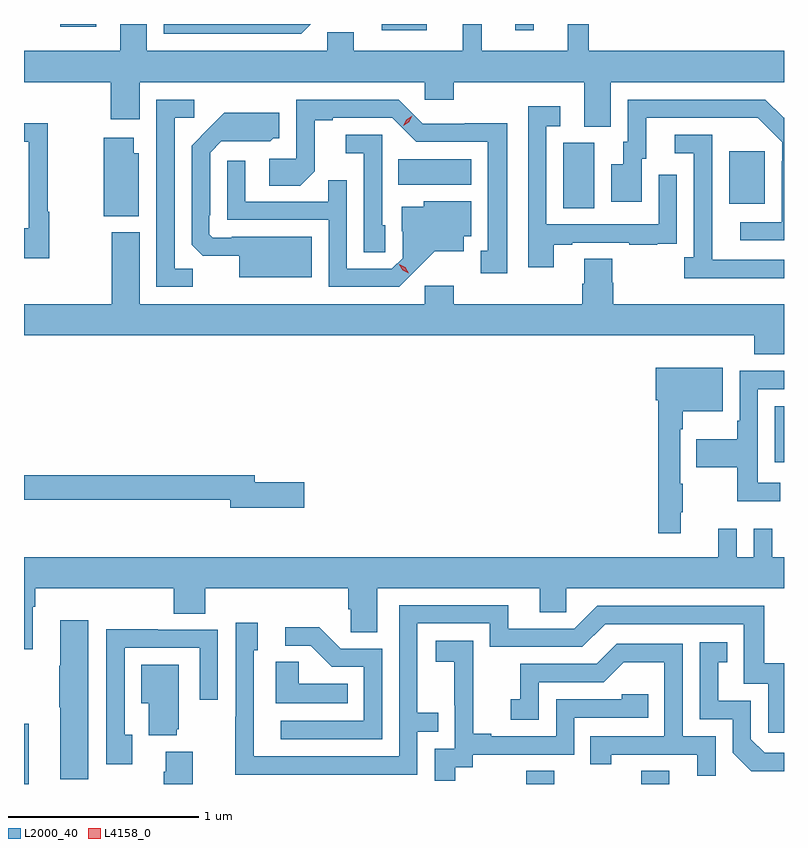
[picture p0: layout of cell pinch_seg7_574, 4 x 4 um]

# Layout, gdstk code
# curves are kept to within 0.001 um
import gdstk
lib = gdstk.Library(unit=1e-6, precision=1e-09)
def R(c, l, rs):  # rectangles x0, y0, x1, y1
    for r in rs: c.add(gdstk.rectangle(r[:2], r[2:], *l))
def P(c, l, *ps):  # polygons
    for p in ps: c.add(gdstk.Polygon(p, *l))
L2000_40 = (2000, 40)
L4158_0 = (4158, 0)

pinch_seg7_574 = lib.new_cell('pinch_seg7_574')
R(pinch_seg7_574, L2000_40, [(180.464,1052.866,180.49,1053.184), (183.107,1052.866,183.255,1052.936), (183.712,1052.866,183.859,1052.936), (184.415,1054.559,184.464,1054.855), (183.302,1055.896,183.466,1056.24), (184.175,1055.921,184.363,1056.196), (182.434,1056.02,182.818,1056.154), (182.346,1056.834,182.585,1056.866), (183.05,1056.834,183.147,1056.866), (180.655,1056.852,180.844,1056.866)])
P(pinch_seg7_574, L2000_40, [(181.974,1056.866),(181.2,1056.866),(181.2,1056.816),(181.924,1056.816)],
  [(183.553,1056.56),(184.464,1056.56),(184.464,1056.724),(183.436,1056.724),(183.436,1056.866),(183.326,1056.866),(183.326,1056.724),(182.873,1056.724),(182.873,1056.866),(182.774,1056.866),(182.774,1056.724),(182.2,1056.724),(182.2,1056.822),(182.061,1056.822),(182.061,1056.724),(181.111,1056.724),(181.111,1056.866),(180.971,1056.866),(180.971,1056.724),(180.464,1056.724),(180.464,1056.56),(180.92,1056.56),(180.92,1056.366),(181.072,1056.366),(181.072,1056.56),(182.574,1056.56),(182.574,1056.467),(182.726,1056.467),(182.726,1056.56),(183.413,1056.56),(183.413,1056.325),(183.553,1056.325)],
  [(181.353,1055.579),(181.257,1055.579),(181.257,1056.372),(181.36,1056.372),(181.36,1056.468),(181.161,1056.468),(181.161,1055.484),(181.353,1055.484)],
  [(183.007,1056.344),(182.784,1056.344),(182.784,1056.342),(182.562,1056.342),(182.436,1056.468),(181.896,1056.468),(181.896,1056.156),(181.755,1056.156),(181.755,1056.016),(181.919,1056.016),(181.995,1056.092),(181.995,1056.36),(182.089,1056.36),(182.089,1056.372),(182.403,1056.372),(182.529,1056.246),(182.906,1056.246),(182.906,1055.673),(182.867,1055.673),(182.867,1055.553),(183.007,1055.553)],
  [(184.464,1056.372),(184.458,1056.378),(184.457,1056.377),(184.366,1056.468),(183.642,1056.468),(183.642,1056.246),(183.617,1056.246),(183.617,1056.127),(183.554,1056.127),(183.554,1055.931),(183.715,1055.931),(183.715,1056.156),(183.739,1056.156),(183.739,1056.372),(184.327,1056.372),(184.455,1056.243),(184.455,1056.143),(184.452,1056.143),(184.452,1055.823),(184.233,1055.823),(184.233,1055.727),(184.464,1055.727)],
  [(183.253,1055.703),(183.349,1055.703),(183.349,1055.715),(183.649,1055.715),(183.649,1055.703),(183.797,1055.703),(183.797,1055.709),(183.899,1055.709),(183.899,1055.818),(183.9,1055.818),(183.9,1056.073),(183.804,1056.073),(183.804,1055.811),(183.213,1055.811),(183.213,1056.327),(183.286,1056.327),(183.286,1056.433),(183.117,1056.433),(183.117,1055.586),(183.253,1055.586)],
  [(181.978,1055.746),(181.558,1055.746),(181.558,1055.742),(181.458,1055.742),(181.44,1055.76),(181.44,1055.86),(181.443,1055.86),(181.443,1056.189),(181.503,1056.249),(181.76,1056.248),(181.776,1056.264),(181.807,1056.264),(181.807,1056.4),(181.519,1056.4),(181.347,1056.226),(181.347,1055.704),(181.406,1055.645),(181.598,1055.645),(181.598,1055.534),(181.978,1055.534)],
  [(180.598,1055.878),(180.59,1055.878),(180.59,1056.344),(180.464,1056.344),(180.464,1056.246),(180.489,1056.246),(180.489,1055.79),(180.464,1055.79),(180.464,1055.634),(180.598,1055.634)],
  [(184.464,1055.625),(184.087,1055.625),(184.087,1055.825),(184.086,1055.825),(184.086,1056.282),(183.888,1056.282),(183.888,1056.186),(183.99,1056.186),(183.99,1055.638),(183.939,1055.638),(183.939,1055.528),(184.464,1055.528)],
  [(182.364,1055.808),(182.349,1055.808),(182.349,1056.282),(182.157,1056.282),(182.157,1056.185),(182.253,1056.185),(182.253,1055.665),(182.364,1055.665)],
  [(181.069,1056.186),(181.042,1056.186),(181.042,1056.268),(180.884,1056.268),(180.884,1055.855),(181.069,1055.855)],
  [(182.524,1055.567),(182.627,1055.669),(182.779,1055.669),(182.779,1055.748),(182.818,1055.748),(182.818,1055.932),(182.568,1055.932),(182.568,1055.905),(182.453,1055.905),(182.453,1055.776),(182.457,1055.776),(182.457,1055.634),(182.4,1055.577),(182.163,1055.577),(182.163,1056.044),(182.065,1056.044),(182.065,1055.931),(181.629,1055.931),(181.629,1056.145),(181.533,1056.145),(181.533,1055.835),(182.067,1055.835),(182.067,1055.484),(182.44,1055.484)],
  [(184.464,1055.392),(183.566,1055.392),(183.566,1055.505),(183.561,1055.505),(183.561,1055.63),(183.413,1055.63),(183.413,1055.498),(183.401,1055.498),(183.401,1055.392),(182.726,1055.392),(182.726,1055.488),(182.574,1055.488),(182.574,1055.392),(181.072,1055.392),(181.072,1055.77),(180.925,1055.77),(180.925,1055.392),(180.464,1055.392),(180.464,1055.228),(184.307,1055.228),(184.307,1055.129),(184.464,1055.129)],
  [(183.92,1054.297),(183.931,1054.297),(183.931,1054.445),(183.918,1054.445),(183.918,1054.733),(183.931,1054.733),(183.931,1054.829),(184.141,1054.829),(184.141,1055.056),(183.788,1055.056),(183.788,1054.886),(183.802,1054.886),(183.802,1054.185),(183.92,1054.185)],
  [(184.444,1054.452),(184.326,1054.452),(184.326,1054.944),(184.464,1054.944),(184.464,1055.04),(184.23,1055.04),(184.23,1054.777),(184.218,1054.777),(184.218,1054.681),(184.003,1054.681),(184.003,1054.534),(184.218,1054.534),(184.218,1054.355),(184.444,1054.355)],
  [(181.939,1054.454),(181.678,1054.454),(181.678,1054.49),(180.464,1054.49),(180.464,1054.362),(181.55,1054.362),(181.55,1054.319),(181.939,1054.319)],
  [(180.511,1053.8),(180.524,1053.8),(180.524,1053.896),(181.253,1053.896),(181.253,1053.763),(181.418,1053.763),(181.418,1053.896),(182.171,1053.896),(182.171,1053.787),(182.184,1053.787),(182.184,1053.664),(182.323,1053.664),(182.323,1053.896),(183.179,1053.896),(183.179,1053.769),(183.318,1053.769),(183.318,1053.896),(184.464,1053.896),(184.464,1054.06),(184.403,1054.06),(184.403,1054.21),(184.305,1054.21),(184.305,1054.06),(184.215,1054.06),(184.215,1054.21),(184.118,1054.21),(184.118,1054.06),(180.464,1054.06),(180.464,1053.576),(180.511,1053.576)],
  [(182.039,1052.916),(182.535,1052.916),(182.535,1053.141),(182.645,1053.141),(182.645,1053.242),(182.535,1053.242),(182.535,1053.711),(182.916,1053.711),(182.916,1053.588),(183.402,1053.588),(183.522,1053.708),(184.251,1053.708),(184.251,1053.393),(184.38,1053.393),(184.38,1053.135),(184.464,1053.135),(184.464,1053.502),(184.36,1053.502),(184.36,1053.804),(183.48,1053.804),(183.36,1053.684),(183.013,1053.684),(183.013,1053.807),(182.439,1053.807),(182.439,1053.012),(181.674,1053.012),(181.674,1053.57),(181.693,1053.57),(181.693,1053.715),(181.578,1053.715),(181.578,1053.221),(181.576,1053.221),(181.576,1052.915)],
  [(180.802,1053.727),(180.656,1053.727),(180.656,1053.488),(180.649,1053.488),(180.649,1053.271),(180.656,1053.271),(180.656,1052.892),(180.802,1052.892)],
  [(182.349,1053.579),(182.13,1053.579),(182.017,1053.692),(181.839,1053.692),(181.839,1053.594),(181.973,1053.594),(182.084,1053.483),(182.253,1053.483),(182.253,1053.198),(181.815,1053.198),(181.815,1053.102),(182.349,1053.102)],
  [(181.033,1053.126),(180.993,1053.126),(180.993,1053.582),(181.389,1053.582),(181.389,1053.309),(181.485,1053.309),(181.485,1053.678),(181.169,1053.678),(181.169,1053.68),(180.897,1053.68),(180.897,1052.97),(181.033,1052.97)],
  [(182.734,1052.953),(182.826,1052.953),(182.826,1053.021),(183.36,1053.021),(183.36,1053.216),(183.749,1053.216),(183.749,1053.339),(183.609,1053.339),(183.609,1053.312),(183.264,1053.312),(183.264,1053.117),(182.923,1053.117),(182.923,1053.13),(182.828,1053.13),(182.828,1053.413),(182.829,1053.413),(182.829,1053.619),(182.631,1053.619),(182.631,1053.509),(182.729,1053.509),(182.729,1053.281),(182.73,1053.281),(182.73,1053.051),(182.625,1053.051),(182.625,1052.883),(182.734,1052.883)],
  [(184.464,1053.03),(184.362,1053.03),(184.29,1053.102),(184.29,1053.303),(184.117,1053.303),(184.117,1053.507),(184.166,1053.507),(184.166,1053.613),(184.02,1053.613),(184.02,1053.207),(184.194,1053.207),(184.194,1053.03),(184.292,1052.933),(184.464,1052.933)],
  [(184.104,1053.117),(183.93,1053.117),(183.93,1053.603),(183.584,1053.603),(183.479,1053.498),(183.076,1053.498),(183.076,1053.313),(183.027,1053.313),(183.027,1053.204),(183.174,1053.204),(183.174,1053.402),(183.516,1053.402),(183.62,1053.506),(183.834,1053.506),(183.834,1053.117),(183.445,1053.117),(183.445,1052.97),(183.556,1052.97),(183.556,1053.021),(184.007,1053.021),(184.007,1052.91),(184.104,1052.91)],
  [(182.168,1053.394),(181.911,1053.394),(181.911,1053.509),(181.79,1053.509),(181.79,1053.29),(182.168,1053.29)],
  [(181.268,1053.153),(181.279,1053.153),(181.279,1053.493),(181.082,1053.493),(181.082,1053.29),(181.121,1053.29),(181.121,1053.122),(181.268,1053.122)],
  [(181.351,1053.037),(181.211,1053.037),(181.211,1052.93),(181.199,1052.93),(181.199,1052.866),(181.351,1052.866)])
P(pinch_seg7_574, L4158_0, [(182.459,1056.33),(182.459,1056.33),(182.476,1056.363),(182.507,1056.382),(182.508,1056.382),(182.508,1056.382),(182.49,1056.349),(182.459,1056.33)],
  [(182.488,1055.555),(182.457,1055.571),(182.44,1055.6),(182.44,1055.601),(182.44,1055.601),(182.471,1055.585),(182.488,1055.555),(182.488,1055.555)])

lib.write_gds('pinch_seg7_574.gds')
